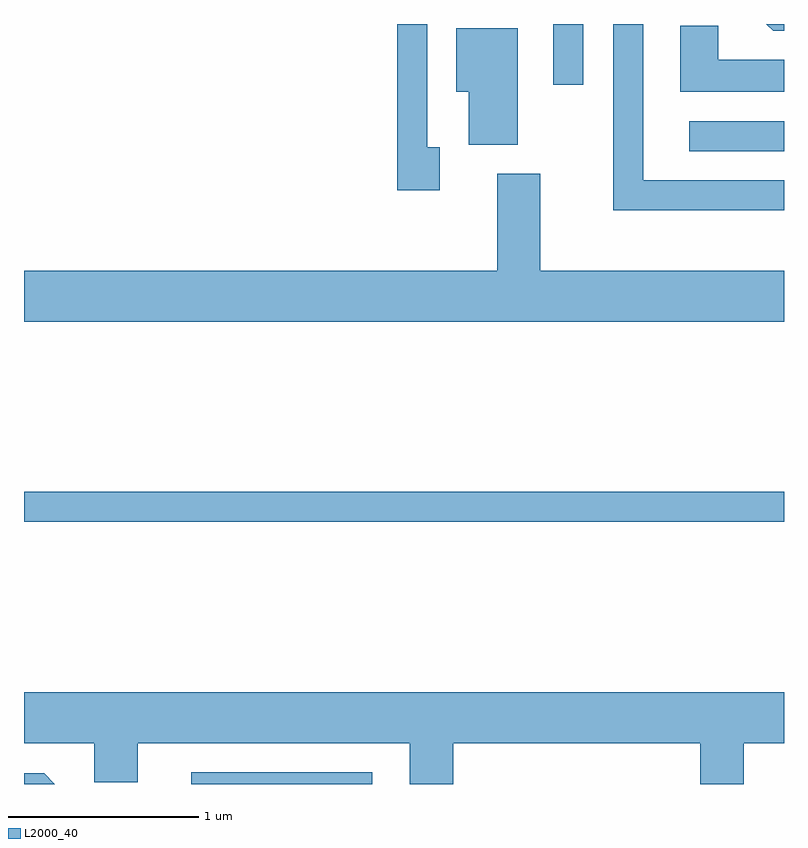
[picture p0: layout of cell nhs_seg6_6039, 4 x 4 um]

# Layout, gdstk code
import gdstk
lib = gdstk.Library(unit=1e-6, precision=1e-09)
def R(c, l, rs):  # rectangles x0, y0, x1, y1
    for r in rs: c.add(gdstk.rectangle(r[:2], r[2:], *l))
def P(c, l, *ps):  # polygons
    for p in ps: c.add(gdstk.Polygon(p, *l))
L2000_40 = (2000, 40)

nhs_seg6_6039 = lib.new_cell('nhs_seg6_6039')
R(nhs_seg6_6039, L2000_40, [(368.491,1654.162,369.444,1654.224), (367.611,1655.541,371.611,1655.699), (371.113,1657.491,371.611,1657.649), (370.396,1657.843,370.554,1658.162)])
P(nhs_seg6_6039, L2000_40, [(371.611,1657.339),(370.869,1657.339),(370.869,1658.162),(370.711,1658.162),(370.711,1657.181),(371.611,1657.181)],
  [(369.799,1657.514),(369.734,1657.514),(369.734,1658.162),(369.576,1658.162),(369.576,1657.286),(369.799,1657.286)],
  [(371.611,1658.162),(371.518,1658.162),(371.554,1658.126),(371.611,1658.126)],
  [(371.611,1657.974),(371.264,1657.974),(371.264,1658.154),(371.066,1658.154),(371.066,1657.806),(371.611,1657.806)],
  [(370.209,1658.139),(369.886,1658.139),(369.886,1657.806),(369.951,1657.806),(369.951,1657.526),(370.209,1657.526)],
  [(371.611,1656.864),(370.329,1656.864),(370.329,1657.374),(370.101,1657.374),(370.101,1656.864),(367.611,1656.864),(367.611,1656.596),(371.611,1656.596)],
  [(369.869,1654.376),(371.171,1654.376),(371.171,1654.162),(371.399,1654.162),(371.399,1654.376),(371.611,1654.376),(371.611,1654.644),(367.611,1654.644),(367.611,1654.376),(367.981,1654.376),(367.981,1654.171),(368.209,1654.171),(368.209,1654.376),(369.641,1654.376),(369.641,1654.162),(369.869,1654.162)],
  [(367.717,1654.219),(367.611,1654.219),(367.611,1654.162),(367.774,1654.162)])

lib.write_gds('nhs_seg6_6039.gds')
